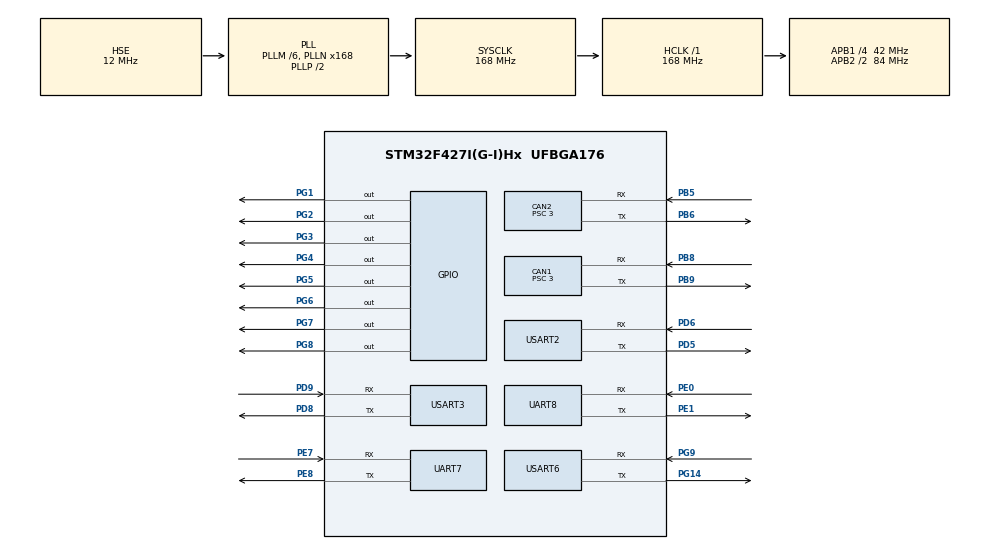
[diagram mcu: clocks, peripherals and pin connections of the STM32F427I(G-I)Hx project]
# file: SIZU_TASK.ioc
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CAN1.BS1=CAN_BS1_10TQ
CAN1.BS2=CAN_BS2_3TQ
CAN1.CalculateBaudRate=1000000
CAN1.CalculateTimeBit=1000
CAN1.CalculateTimeQuantum=71.42857142857143
CAN1.Prescaler=3
CAN2.BS1=CAN_BS1_10TQ
CAN2.BS2=CAN_BS2_3TQ
CAN2.CalculateBaudRate=1000000
CAN2.CalculateTimeBit=1000
CAN2.CalculateTimeQuantum=71.42857142857143
CAN2.Prescaler=3
Dma.Request0=UART8_RX
Dma.Request1=UART8_TX
Dma.Request2=UART7_RX
Dma.Request3=UART7_TX
Dma.Request4=USART6_RX
Dma.Request5=USART6_TX
Dma.Request6=USART3_TX
Dma.Request7=USART2_RX
Dma.UART7_RX.2.Direction=DMA_PERIPH_TO_MEMORY
Dma.UART7_RX.2.FIFOMode=DMA_FIFOMODE_DISABLE
Dma.UART7_RX.2.Instance=DMA1_Stream3
Dma.UART7_RX.2.MemDataAlignment=DMA_MDATAALIGN_BYTE
Dma.UART7_RX.2.MemInc=DMA_MINC_ENABLE
Dma.UART7_RX.2.Mode=DMA_NORMAL
Dma.UART7_RX.2.PeriphDataAlignment=DMA_PDATAALIGN_BYTE
Dma.UART7_RX.2.PeriphInc=DMA_PINC_DISABLE
Dma.UART7_RX.2.Priority=DMA_PRIORITY_LOW
Dma.UART7_TX.3.Direction=DMA_MEMORY_TO_PERIPH
Dma.UART7_TX.3.FIFOMode=DMA_FIFOMODE_DISABLE
Dma.UART7_TX.3.Instance=DMA1_Stream1
Dma.UART7_TX.3.MemDataAlignment=DMA_MDATAALIGN_BYTE
Dma.UART7_TX.3.MemInc=DMA_MINC_ENABLE
Dma.UART7_TX.3.Mode=DMA_NORMAL
Dma.UART7_TX.3.PeriphDataAlignment=DMA_PDATAALIGN_BYTE
Dma.UART7_TX.3.PeriphInc=DMA_PINC_DISABLE
Dma.UART7_TX.3.Priority=DMA_PRIORITY_LOW
Dma.UART8_RX.0.Direction=DMA_PERIPH_TO_MEMORY
Dma.UART8_RX.0.FIFOMode=DMA_FIFOMODE_DISABLE
Dma.UART8_RX.0.Instance=DMA1_Stream6
Dma.UART8_RX.0.MemDataAlignment=DMA_MDATAALIGN_BYTE
Dma.UART8_RX.0.MemInc=DMA_MINC_ENABLE
Dma.UART8_RX.0.Mode=DMA_NORMAL
Dma.UART8_RX.0.PeriphDataAlignment=DMA_PDATAALIGN_BYTE
Dma.UART8_RX.0.PeriphInc=DMA_PINC_DISABLE
Dma.UART8_RX.0.Priority=DMA_PRIORITY_LOW
Dma.UART8_TX.1.Direction=DMA_MEMORY_TO_PERIPH
Dma.UART8_TX.1.FIFOMode=DMA_FIFOMODE_DISABLE
Dma.UART8_TX.1.Instance=DMA1_Stream0
Dma.UART8_TX.1.MemDataAlignment=DMA_MDATAALIGN_BYTE
Dma.UART8_TX.1.MemInc=DMA_MINC_ENABLE
Dma.UART8_TX.1.Mode=DMA_NORMAL
Dma.UART8_TX.1.PeriphDataAlignment=DMA_PDATAALIGN_BYTE
Dma.UART8_TX.1.PeriphInc=DMA_PINC_DISABLE
Dma.UART8_TX.1.Priority=DMA_PRIORITY_LOW
Dma.USART2_RX.7.Direction=DMA_PERIPH_TO_MEMORY
Dma.USART2_RX.7.FIFOMode=DMA_FIFOMODE_DISABLE
Dma.USART2_RX.7.Instance=DMA1_Stream5
Dma.USART2_RX.7.MemDataAlignment=DMA_MDATAALIGN_BYTE
Dma.USART2_RX.7.MemInc=DMA_MINC_ENABLE
Dma.USART2_RX.7.Mode=DMA_NORMAL
Dma.USART2_RX.7.PeriphDataAlignment=DMA_PDATAALIGN_BYTE
Dma.USART2_RX.7.PeriphInc=DMA_PINC_DISABLE
Dma.USART2_RX.7.Priority=DMA_PRIORITY_LOW
Dma.USART3_TX.6.Direction=DMA_MEMORY_TO_PERIPH
Dma.USART3_TX.6.FIFOMode=DMA_FIFOMODE_DISABLE
Dma.USART3_TX.6.Instance=DMA1_Stream4
Dma.USART3_TX.6.MemDataAlignment=DMA_MDATAALIGN_BYTE
Dma.USART3_TX.6.MemInc=DMA_MINC_ENABLE
Dma.USART3_TX.6.Mode=DMA_NORMAL
Dma.USART3_TX.6.PeriphDataAlignment=DMA_PDATAALIGN_BYTE
Dma.USART3_TX.6.PeriphInc=DMA_PINC_DISABLE
Dma.USART3_TX.6.Priority=DMA_PRIORITY_LOW
Dma.USART6_RX.4.Direction=DMA_PERIPH_TO_MEMORY
Dma.USART6_RX.4.FIFOMode=DMA_FIFOMODE_DISABLE
Dma.USART6_RX.4.Instance=DMA2_Stream1
Dma.USART6_RX.4.MemDataAlignment=DMA_MDATAALIGN_BYTE
Dma.USART6_RX.4.MemInc=DMA_MINC_ENABLE
Dma.USART6_RX.4.Mode=DMA_NORMAL
Dma.USART6_RX.4.PeriphDataAlignment=DMA_PDATAALIGN_BYTE
Dma.USART6_RX.4.PeriphInc=DMA_PINC_DISABLE
Dma.USART6_RX.4.Priority=DMA_PRIORITY_LOW
Dma.USART6_TX.5.Direction=DMA_MEMORY_TO_PERIPH
Dma.USART6_TX.5.FIFOMode=DMA_FIFOMODE_DISABLE
Dma.USART6_TX.5.Instance=DMA2_Stream6
Dma.USART6_TX.5.MemDataAlignment=DMA_MDATAALIGN_BYTE
Dma.USART6_TX.5.MemInc=DMA_MINC_ENABLE
Dma.USART6_TX.5.Mode=DMA_NORMAL
Dma.USART6_TX.5.PeriphDataAlignment=DMA_PDATAALIGN_BYTE
Dma.USART6_TX.5.PeriphInc=DMA_PINC_DISABLE
Dma.USART6_TX.5.Priority=DMA_PRIORITY_LOW
FREERTOS.Tasks01=UART,3,256,UARTTask,Default,NULL,Dynamic,NULL,NULL;MotorControl,3,256,MotorControlTASK,Default,NULL,Dynamic,NULL,NULL;PostureControl,-3,256,PostureControlTask,Default,NULL,Dynamic,NULL,NULL
Mcu.Family=STM32F4
Mcu.Name=STM32F427I(G-I)Hx
Mcu.Package=UFBGA176
NVIC.CAN1_RX0_IRQn=true\:5\:0\:false\:false\:true\:true\:true\:true\:true
NVIC.CAN1_RX1_IRQn=true\:5\:0\:false\:false\:true\:true\:true\:true\:true
NVIC.CAN1_TX_IRQn=true\:5\:0\:false\:false\:true\:true\:true\:true\:true
NVIC.CAN2_RX0_IRQn=true\:5\:0\:false\:false\:true\:true\:true\:true\:true
NVIC.CAN2_RX1_IRQn=true\:5\:0\:false\:false\:true\:true\:true\:true\:true
NVIC.CAN2_TX_IRQn=true\:5\:0\:false\:false\:true\:true\:true\:true\:true
NVIC.DMA1_Stream0_IRQn=true\:5\:0\:false\:false\:true\:true\:false\:true\:true
NVIC.DMA1_Stream1_IRQn=true\:5\:0\:false\:false\:true\:true\:false\:true\:true
NVIC.DMA1_Stream3_IRQn=true\:5\:0\:false\:false\:true\:true\:false\:true\:true
NVIC.DMA1_Stream4_IRQn=true\:5\:0\:false\:false\:true\:true\:false\:true\:true
NVIC.DMA1_Stream5_IRQn=true\:5\:0\:false\:false\:true\:true\:false\:true\:true
NVIC.DMA1_Stream6_IRQn=true\:5\:0\:false\:false\:true\:true\:false\:true\:true
NVIC.DMA2_Stream1_IRQn=true\:5\:0\:false\:false\:true\:true\:false\:true\:true
NVIC.DMA2_Stream6_IRQn=true\:5\:0\:false\:false\:true\:true\:false\:true\:true
NVIC.PriorityGroup=NVIC_PRIORITYGROUP_4
NVIC.TIM2_IRQn=true\:5\:0\:false\:false\:true\:true\:true\:true\:true
NVIC.UART7_IRQn=true\:5\:0\:false\:false\:true\:true\:false\:true\:true
NVIC.UART8_IRQn=true\:5\:0\:false\:false\:true\:true\:false\:true\:true
NVIC.USART2_IRQn=true\:5\:0\:false\:false\:true\:true\:true\:true\:true
NVIC.USART3_IRQn=true\:5\:0\:false\:false\:true\:true\:false\:true\:true
NVIC.USART6_IRQn=true\:5\:0\:false\:false\:true\:true\:false\:true\:true
PA13.Mode=Serial_Wire
PA13.Signal=SYS_JTMS-SWDIO
PA14.Mode=Serial_Wire
PA14.Signal=SYS_JTCK-SWCLK
PB5.Mode=CAN_Activate
PB5.Signal=CAN2_RX
PB6.Mode=CAN_Activate
PB6.Signal=CAN2_TX
PB8.Mode=CAN_Activate
PB8.Signal=CAN1_RX
PB9.Mode=CAN_Activate
PB9.Signal=CAN1_TX
PD5.Mode=Asynchronous
PD5.Signal=USART2_TX
PD6.Mode=Asynchronous
PD6.Signal=USART2_RX
PD8.Mode=Asynchronous
PD8.Signal=USART3_TX
PD9.Mode=Asynchronous
PD9.Signal=USART3_RX
PE0.Mode=Asynchronous
PE0.Signal=UART8_RX
PE1.Mode=Asynchronous
PE1.Signal=UART8_TX
PE7.Mode=Asynchronous
PE7.Signal=UART7_RX
PE8.Mode=Asynchronous
PE8.Signal=UART7_TX
PG1.Signal=GPIO_Output
PG2.Signal=GPIO_Output
PG3.Signal=GPIO_Output
PG4.Signal=GPIO_Output
PG5.Signal=GPIO_Output
PG6.Signal=GPIO_Output
PG7.Signal=GPIO_Output
PG8.Signal=GPIO_Output
PG14.Mode=Asynchronous
PG14.Signal=USART6_TX
PG9.Mode=Asynchronous
PG9.Signal=USART6_RX
PH0/OSC_IN.Mode=HSE-External-Oscillator
PH0/OSC_IN.Signal=RCC_OSC_IN
PH1/OSC_OUT.Mode=HSE-External-Oscillator
PH1/OSC_OUT.Signal=RCC_OSC_OUT
ProjectManager.HeapSize=0x200
ProjectManager.StackSize=0x400
ProjectManager.TargetToolchain=CMake
RCC.48MHZClocksFreq_Value=84000000
RCC.AHBFreq_Value=168000000
RCC.APB1CLKDivider=RCC_HCLK_DIV4
RCC.APB1Freq_Value=42000000
RCC.APB1TimFreq_Value=84000000
RCC.APB2CLKDivider=RCC_HCLK_DIV2
RCC.APB2Freq_Value=84000000
RCC.APB2TimFreq_Value=168000000
RCC.CortexFreq_Value=168000000
RCC.HCLKFreq_Value=168000000
RCC.HSE_VALUE=12000000
RCC.HSI_VALUE=16000000
RCC.LSE_VALUE=32768
RCC.PLLM=6
RCC.PLLN=168
RCC.PLLSourceVirtual=RCC_PLLSOURCE_HSE
RCC.SYSCLKFreq_VALUE=168000000
RCC.SYSCLKSource=RCC_SYSCLKSOURCE_PLLCLK
RCC.VCOOutputFreq_Value=336000000
UART7.VirtualMode=Asynchronous
UART8.VirtualMode=Asynchronous
USART2.VirtualMode=VM_ASYNC
USART3.VirtualMode=VM_ASYNC
USART6.VirtualMode=VM_ASYNC
VP_FREERTOS_VS_CMSIS_V1.Mode=CMSIS_V1
VP_TIM2_VS_ClockSourceINT.Mode=Internal
board=custom

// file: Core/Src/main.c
/* USER CODE BEGIN Header */
/**
  ******************************************************************************
  * @file           : main.c
  * @brief          : Main program body
  ******************************************************************************
  * @attention
  *
  * Copyright (c) 2026 STMicroelectronics.
  * All rights reserved.
  *
  * This software is licensed under terms that can be found in the LICENSE file
  * in the root directory of this software component.
  * If no LICENSE file comes with this software, it is provided AS-IS.
  *
  ******************************************************************************
  */
/* USER CODE END Header */
#include "main.h"
#include "cmsis_os.h"
#include "can.h"
#include "dma.h"
#include "tim.h"
#include "usart.h"
#include "gpio.h"

/* USER CODE BEGIN Includes */
#include "MotorControl_task.h"
#include "IMU.h"
#include "action.h"
#include "unicomm.h"
#include "bsp_init.h"
#include "gimbal_motor_monitor.h"
/* USER CODE END Includes */

void SystemClock_Config(void);
void MX_FREERTOS_Init(void);

int main(void)
{

  /* MCU Configuration--------------------------------------------------------*/

  /* Reset of all peripherals, Initializes the Flash interface and the Systick. */
  HAL_Init();

  /* Configure the system clock */
  SystemClock_Config();

  /* Initialize all configured peripherals */
  MX_GPIO_Init();
  MX_DMA_Init();
  MX_CAN1_Init();
  MX_CAN2_Init();
  MX_TIM2_Init();
  MX_UART8_Init();
  MX_UART7_Init();
  MX_USART6_UART_Init();
  MX_USART3_UART_Init();
  MX_USART2_UART_Init();
  /* USER CODE BEGIN 2 */
  BSPInit();
  (void)LeftMotorInit();
  (void)RightMotorInit();
  GimbalMotorMonitor_Init();
  IMU_USART6_Init();
  UniComm_UART7_Init();
  Action_UART8DebugInit();

__HAL_TIM_SetCompare(&htim2, TIM_CHANNEL_1, 700);
HAL_TIM_PWM_Start(&htim2, TIM_CHANNEL_1);

  /* USER CODE END 2 */

  /* Call init function for freertos objects (in cmsis_os2.c) */
  MX_FREERTOS_Init();

  /* Start scheduler */
  osKernelStart();

  /* We should never get here as control is now taken by the scheduler */

  /* Infinite loop */
  while (1)
  {

  }
}

void SystemClock_Config(void)
{
  RCC_OscInitTypeDef RCC_OscInitStruct = {0};
  RCC_ClkInitTypeDef RCC_ClkInitStruct = {0};

  /** Configure the main internal regulator output voltage
  */
  __HAL_RCC_PWR_CLK_ENABLE();
  __HAL_PWR_VOLTAGESCALING_CONFIG(PWR_REGULATOR_VOLTAGE_SCALE1);

  /** Initializes the RCC Oscillators according to the specified parameters
  * in the RCC_OscInitTypeDef structure.
  */
  RCC_OscInitStruct.OscillatorType = RCC_OSCILLATORTYPE_HSE;
  RCC_OscInitStruct.HSEState = RCC_HSE_ON;
  RCC_OscInitStruct.PLL.PLLState = RCC_PLL_ON;
  RCC_OscInitStruct.PLL.PLLSource = RCC_PLLSOURCE_HSE;
  RCC_OscInitStruct.PLL.PLLM = 6;
  RCC_OscInitStruct.PLL.PLLN = 168;
  RCC_OscInitStruct.PLL.PLLP = RCC_PLLP_DIV2;
  RCC_OscInitStruct.PLL.PLLQ = 4;
  if (HAL_RCC_OscConfig(&RCC_OscInitStruct) != HAL_OK)
  {
    Error_Handler();
  }

  /** Initializes the CPU, AHB and APB buses clocks
  */
  RCC_ClkInitStruct.ClockType = RCC_CLOCKTYPE_HCLK|RCC_CLOCKTYPE_SYSCLK
                              |RCC_CLOCKTYPE_PCLK1|RCC_CLOCKTYPE_PCLK2;
  RCC_ClkInitStruct.SYSCLKSource = RCC_SYSCLKSOURCE_PLLCLK;
  RCC_ClkInitStruct.AHBCLKDivider = RCC_SYSCLK_DIV1;
  RCC_ClkInitStruct.APB1CLKDivider = RCC_HCLK_DIV4;
  RCC_ClkInitStruct.APB2CLKDivider = RCC_HCLK_DIV2;

  if (HAL_RCC_ClockConfig(&RCC_ClkInitStruct, FLASH_LATENCY_5) != HAL_OK)
  {
    Error_Handler();
  }
}

void Error_Handler(void)
{
  __disable_irq();
  while (1)
  {
  }
}

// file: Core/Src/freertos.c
/* USER CODE BEGIN Header */
/**
  ******************************************************************************
  * File Name          : freertos.c
  * Description        : Code for freertos applications
  ******************************************************************************
  * @attention
  *
  * Copyright (c) 2026 STMicroelectronics.
  * All rights reserved.
  *
  * This software is licensed under terms that can be found in the LICENSE file
  * in the root directory of this software component.
  * If no LICENSE file comes with this software, it is provided AS-IS.
  *
  ******************************************************************************
  */
/* USER CODE END Header */

#include "FreeRTOS.h"
#include "task.h"
#include "main.h"
#include "cmsis_os.h"

osThreadId UARTHandle;
osThreadId MotorControlHandle;
osThreadId PostureControlHandle;

void UARTTask(void const * argument);
void MotorControl_task(void const * argument);
void PostureControl_task(void const * argument);

void MX_FREERTOS_Init(void); /* (MISRA C 2004 rule 8.1) */

/* GetIdleTaskMemory prototype (linked to static allocation support) */
void vApplicationGetIdleTaskMemory( StaticTask_t **ppxIdleTaskTCBBuffer, StackType_t **ppxIdleTaskStackBuffer, uint32_t *pulIdleTaskStackSize );

/* USER CODE BEGIN GET_IDLE_TASK_MEMORY */
static StaticTask_t xIdleTaskTCBBuffer;
static StackType_t xIdleStack[configMINIMAL_STACK_SIZE];

void vApplicationGetIdleTaskMemory( StaticTask_t **ppxIdleTaskTCBBuffer, StackType_t **ppxIdleTaskStackBuffer, uint32_t *pulIdleTaskStackSize )
{
  *ppxIdleTaskTCBBuffer = &xIdleTaskTCBBuffer;
  *ppxIdleTaskStackBuffer = &xIdleStack[0];
  *pulIdleTaskStackSize = configMINIMAL_STACK_SIZE;
  /* place for user code */
}
/* USER CODE END GET_IDLE_TASK_MEMORY */

void MX_FREERTOS_Init(void) {

  /* Create the thread(s) */
  /* definition and creation of UART */
  osThreadDef(UART, UARTTask, osPriorityIdle, 0, 128);
  UARTHandle = osThreadCreate(osThread(UART), NULL);

  /* definition and creation of MotorControl */
  osThreadDef(MotorControl, MotorControl_task, osPriorityRealtime, 0, 256);
  MotorControlHandle = osThreadCreate(osThread(MotorControl), NULL);

  /* definition and creation of PostureControl */
  osThreadDef(PostureControl, PostureControl_task, osPriorityRealtime, 0, 512);
  PostureControlHandle = osThreadCreate(osThread(PostureControl), NULL);

}

void UARTTask(void const * argument)
{
  for(;;)
  {
    osDelay(1);
  }
}

__weak void MotorControl_task(void const * argument)
{
  for(;;)
  {
    osDelay(1);
  }
}

__weak void PostureControl_task(void const * argument)
{
  for(;;)
  {
    osDelay(1);
  }
}
